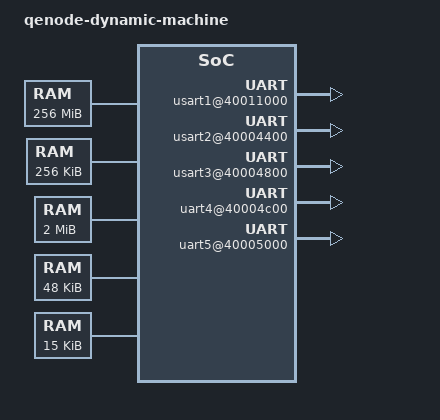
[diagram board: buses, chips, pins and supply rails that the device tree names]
/dts-v1/;

/ {
    model = "qenode-dynamic-machine";
    compatible = "arm,generic-fdt";
    #address-cells = <2>;
    #size-cells = <2>;

    qemu_sysmem: qemu_sysmem {
        compatible = "qemu:system-memory";
        phandle = <0x01>;
    };

    cpus {
        #address-cells = <1>;
        #size-cells = <0>;
        cpu@0 {
            device_type = "cpu";
            compatible = "cortex-m4-arm-cpu";
            reg = <0>;
        };
    };

    memory@60000000 {
        device_type = "memory";
        compatible = "qemu-memory-region";
        reg = <0x0 0x60000000 0x0 0x10000000>;
        container = <0x01>;
        qemu,host-id = "fsmcBank1";
    };
    memory@20000000 {
        device_type = "memory";
        compatible = "qemu-memory-region";
        reg = <0x0 0x20000000 0x0 0x40000>;
        container = <0x01>;
        qemu,host-id = "sram";
    };
    memory@8000000 {
        device_type = "memory";
        compatible = "qemu-memory-region";
        reg = <0x0 0x8000000 0x0 0x200000>;
        container = <0x01>;
        qemu,host-id = "flash";
    };
    usart1@40011000 {
        compatible = "st,stm32-usart";
        reg = <0x0 0x40011000 0x0 0x100>;
        chardev = <0x00>;
        interrupts = <0 37 4>;
        container = <0x01>;
    };
    usart2@40004400 {
        compatible = "st,stm32-usart";
        reg = <0x0 0x40004400 0x0 0x100>;
        chardev = <0x00>;
        interrupts = <0 38 4>;
        container = <0x01>;
    };
    usart3@40004800 {
        compatible = "st,stm32-usart";
        reg = <0x0 0x40004800 0x0 0x100>;
        chardev = <0x00>;
        interrupts = <0 39 4>;
        container = <0x01>;
    };
    uart4@40004c00 {
        compatible = "st,stm32-usart";
        reg = <0x0 0x40004c00 0x0 0x100>;
        chardev = <0x00>;
        interrupts = <0 52 4>;
        container = <0x01>;
    };
    uart5@40005000 {
        compatible = "st,stm32-usart";
        reg = <0x0 0x40005000 0x0 0x100>;
        chardev = <0x00>;
        interrupts = <0 53 4>;
        container = <0x01>;
    };
    nvic@e000e000 {
        compatible = "arm,armv7m-nvic";
        reg = <0x0 0xe000e000 0x0 0x1000>;
        container = <0x01>;
    };
    memory@1fff0000 {
        device_type = "memory";
        compatible = "qemu-memory-region";
        reg = <0x0 0x1fff0000 0x0 0xc000>;
        container = <0x01>;
        qemu,host-id = "rom1";
    };
    memory@1fffc400 {
        device_type = "memory";
        compatible = "qemu-memory-region";
        reg = <0x0 0x1fffc400 0x0 0x3c00>;
        container = <0x01>;
        qemu,host-id = "rom2";
    };
};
